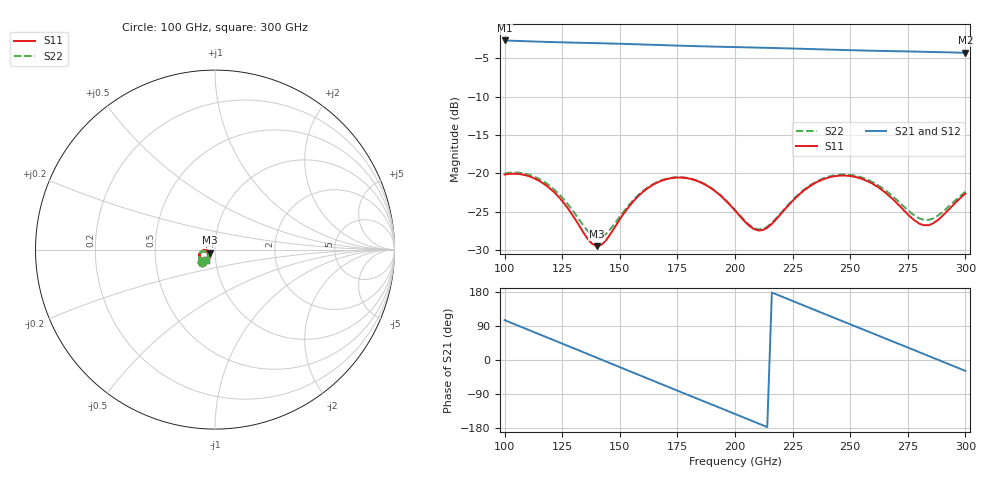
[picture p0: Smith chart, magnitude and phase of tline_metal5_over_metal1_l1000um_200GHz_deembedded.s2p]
! Created with skrf 2.2.0 (http://scikit-rf.org).
# GHz S DB R 50.0
! Port[1] = P1
! Port[2] = P2
!freq dBS11 angS11 dBS21 angS21 dBS12 angS12 dBS22 angS22
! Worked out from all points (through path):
!   101 points, 100 GHz to 300 GHz, reference 50 ohm
!   highest |S21| = -2.69 dB at 100 GHz (marker M1); lowest = -4.3 dB at 300 GHz (marker M2)
!   group delay of S21, straight-line fit = 6.86 ps
!   lowest |S11| = -29.5 dB at 140 GHz (marker M3), VSWR 1.07, Z = 47.1 - j1.53 ohm
!   |S11| at or under -10 dB: start of sweep to end of sweep
!   |S22| runs from -28.4 to -19.9 dB; largest |S21 - S12| = 4.7e-16
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100  -20.15 -137.2  -2.69 105.2  -2.69 105.2  -20.01 -135.5
108  -20.16 -152.1  -2.77 85.3  -2.77 85.3  -19.97 -150.1
116  -21.14 -165.8  -2.85 65.5  -2.85 65.5  -20.88 -163.4
126  -23.96 -177.4  -2.94 40.8  -2.94 40.8  -23.49 -174.4
134  -27.59 -173.0  -3.00 20.9  -3.00 20.9  -26.70 -170.5
140  -29.48 -151.2  -3.04 6.0  -3.04 6.0  -28.36 -152.4
144  -28.71 -134.1  -3.07 -3.9  -3.07 -3.9  -27.88 -137.8
154  -24.31 -122.1  -3.16 -28.8  -3.16 -28.8  -24.10 -125.2
168  -20.96 -137.7  -3.29 -63.5  -3.29 -63.5  -20.91 -139.0
176  -20.54 -149.9  -3.36 -83.3  -3.36 -83.3  -20.49 -150.6
184  -21.03 -161.6  -3.43 -103.0  -3.43 -103.0  -20.98 -161.8
200  -24.83 -172.4  -3.55 -142.4  -3.55 -142.4  -24.75 -172.0
212  -27.39 -146.8  -3.63 -172.1  -3.63 -172.1  -27.25 -146.4
222  -24.56 -128.9  -3.71 163.2  -3.71 163.2  -24.45 -128.4
234  -21.38 -135.1  -3.81 133.6  -3.81 133.6  -21.28 -134.2
250  -20.34 -155.9  -3.95 94.2  -3.95 94.2  -20.19 -154.4
258  -21.08 -165.8  -4.01 74.6  -4.01 74.6  -20.88 -163.9
268  -23.22 -173.1  -4.08 50.1  -4.08 50.1  -22.87 -170.7
278  -26.15 -164.6  -4.14 25.5  -4.14 25.5  -25.51 -163.1
284  -26.74 -149.1  -4.17 10.7  -4.17 10.7  -26.05 -149.5
292  -24.95 -133.2  -4.23 -9.0  -4.23 -9.0  -24.52 -135.0
300  -22.61 -131.7  -4.29 -28.7  -4.29 -28.7  -22.39 -133.2
